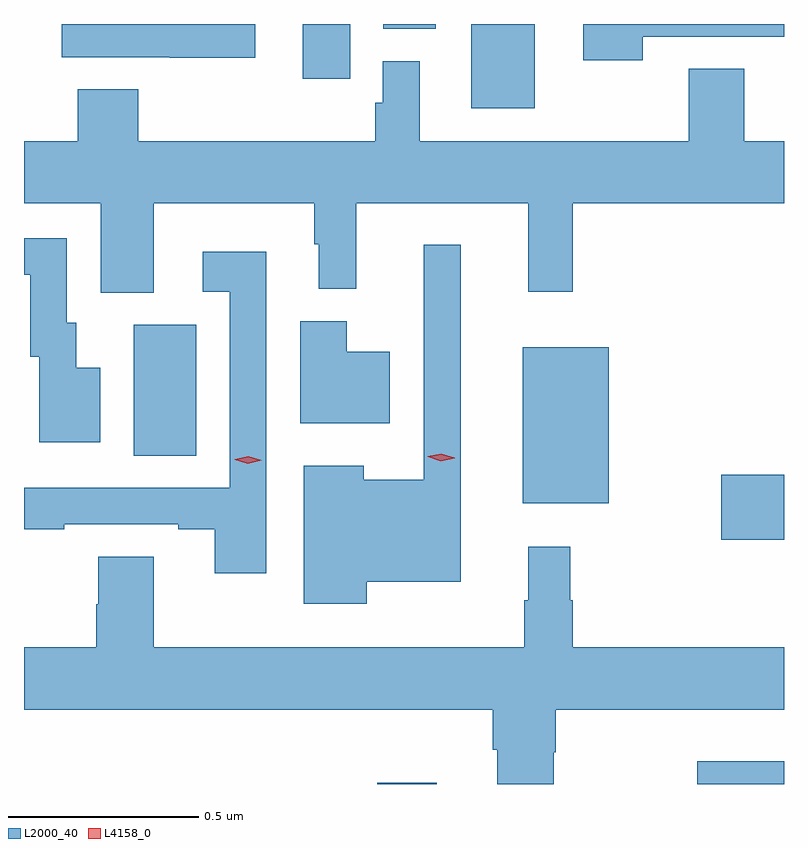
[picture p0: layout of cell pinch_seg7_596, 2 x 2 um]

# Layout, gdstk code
import gdstk
lib = gdstk.Library(unit=1e-6, precision=1e-09)
def R(c, l, rs):  # rectangles x0, y0, x1, y1
    for r in rs: c.add(gdstk.rectangle(r[:2], r[2:], *l))
def P(c, l, *ps):  # polygons
    for p in ps: c.add(gdstk.Polygon(p, *l))
L2000_40 = (2000, 40)
L4158_0 = (4158, 0)

pinch_seg7_596 = lib.new_cell('pinch_seg7_596')
R(pinch_seg7_596, L2000_40, [(124.933,1052.368,125.089,1052.371), (125.775,1052.368,126.003,1052.428), (125.838,1053.011,126.003,1053.182), (125.315,1053.107,125.542,1053.517), (124.292,1053.232,124.456,1053.576), (125.18,1054.146,125.347,1054.368), (124.737,1054.224,124.862,1054.368), (124.949,1054.355,125.086,1054.368)])
P(pinch_seg7_596, L2000_40, [(125.631,1054.335),(126.003,1054.335),(126.003,1054.368),(125.475,1054.368),(125.475,1054.272),(125.631,1054.272)],
  [(124.612,1054.368),(124.102,1054.368),(124.102,1054.281),(124.387,1054.281),(124.387,1054.279),(124.612,1054.279)],
  [(125.33,1053.663),(125.447,1053.663),(125.447,1053.896),(126.003,1053.896),(126.003,1054.06),(125.899,1054.06),(125.899,1054.25),(125.752,1054.25),(125.752,1054.06),(125.044,1054.06),(125.044,1054.27),(124.947,1054.27),(124.947,1054.161),(124.927,1054.161),(124.927,1054.06),(124.304,1054.06),(124.304,1054.196),(124.144,1054.196),(124.144,1054.06),(124.003,1054.06),(124.003,1053.896),(124.205,1053.896),(124.205,1053.661),(124.345,1053.661),(124.345,1053.896),(124.767,1053.896),(124.767,1053.789),(124.778,1053.789),(124.778,1053.671),(124.877,1053.671),(124.877,1053.896),(125.33,1053.896)],
  [(124.204,1053.463),(124.141,1053.463),(124.141,1053.582),(124.116,1053.582),(124.116,1053.804),(124.003,1053.804),(124.003,1053.708),(124.019,1053.708),(124.019,1053.492),(124.043,1053.492),(124.043,1053.267),(124.204,1053.267)],
  [(124.905,1052.9),(125.152,1052.9),(125.152,1053.787),(125.055,1053.787),(125.055,1053.169),(124.897,1053.169),(124.897,1053.205),(124.739,1053.205),(124.739,1052.843),(124.905,1052.843)],
  [(124.641,1053.769),(124.473,1053.769),(124.473,1053.663),(124.545,1053.663),(124.545,1053.147),(124.003,1053.147),(124.003,1053.039),(124.109,1053.039),(124.109,1053.051),(124.409,1053.051),(124.409,1053.039),(124.505,1053.039),(124.505,1052.922),(124.641,1052.922)],
  [(124.966,1053.505),(124.852,1053.505),(124.852,1053.586),(124.73,1053.586),(124.73,1053.317),(124.966,1053.317)],
  [(125.397,1052.451),(125.402,1052.451),(125.402,1052.564),(126.003,1052.564),(126.003,1052.728),(125.447,1052.728),(125.447,1052.852),(125.44,1052.852),(125.44,1052.992),(125.33,1052.992),(125.33,1052.852),(125.319,1052.852),(125.319,1052.728),(124.345,1052.728),(124.345,1052.966),(124.198,1052.966),(124.198,1052.841),(124.193,1052.841),(124.193,1052.728),(124.003,1052.728),(124.003,1052.564),(125.237,1052.564),(125.237,1052.458),(125.249,1052.458),(125.249,1052.368),(125.397,1052.368)])
P(pinch_seg7_596, L4158_0, [(125.1,1053.217),(125.065,1053.229),(125.065,1053.229),(125.065,1053.23),(125.101,1053.237),(125.136,1053.226),(125.137,1053.226),(125.136,1053.225)],
  [(124.592,1053.211),(124.557,1053.221),(124.557,1053.222),(124.557,1053.222),(124.593,1053.231),(124.629,1053.22),(124.629,1053.22),(124.629,1053.22)])

lib.write_gds('pinch_seg7_596.gds')
